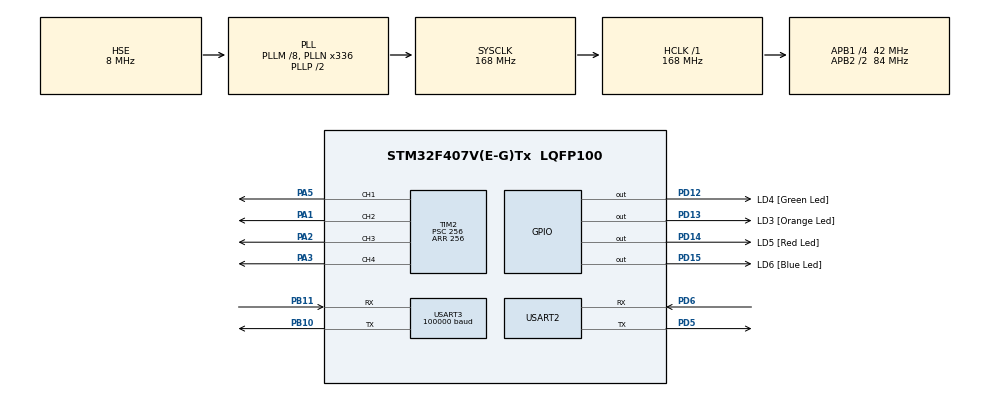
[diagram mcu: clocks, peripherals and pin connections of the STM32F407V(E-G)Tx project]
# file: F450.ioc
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Mcu.Family=STM32F4
Mcu.Name=STM32F407V(E-G)Tx
Mcu.Package=LQFP100
NVIC.PriorityGroup=NVIC_PRIORITYGROUP_0
NVIC.TIM6_DAC_IRQn=true\:0\:0\:false
NVIC.USART2_IRQn=true\:0\:0\:false
NVIC.USART3_IRQn=true\:0\:0\:false
PA1.Signal=S_TIM2_CH2
PA13.GPIO_Label=SWDIO
PA13.Mode=Trace-Asynchronous_SW
PA13.Signal=SYS_JTMS-SWDIO
PA14.GPIO_Label=SWCLK
PA14.Mode=Trace-Asynchronous_SW
PA14.Signal=SYS_JTCK-SWCLK
PA2.Signal=S_TIM2_CH3
PA3.Signal=S_TIM2_CH4
PA5.Signal=S_TIM2_CH1_ETR
PB10.Mode=Asynchronous
PB10.Signal=USART3_TX
PB11.Mode=Asynchronous
PB11.Signal=USART3_RX
PB3.GPIO_Label=SWO
PB3.Mode=Trace-Asynchronous_SW
PB3.Signal=SYS_JTDO-SWO
PD12.GPIO_Label=LD4 [Green Led]
PD12.GPIO_PuPd=GPIO_NOPULL
PD12.GPIO_Speed=GPIO_SPEED_LOW
PD12.Signal=GPIO_Output
PD13.GPIO_Label=LD3 [Orange Led]
PD13.GPIO_PuPd=GPIO_NOPULL
PD13.GPIO_Speed=GPIO_SPEED_LOW
PD13.Signal=GPIO_Output
PD14.GPIO_Label=LD5 [Red Led]
PD14.GPIO_PuPd=GPIO_NOPULL
PD14.GPIO_Speed=GPIO_SPEED_LOW
PD14.Signal=GPIO_Output
PD15.GPIO_Label=LD6 [Blue Led]
PD15.GPIO_PuPd=GPIO_NOPULL
PD15.GPIO_Speed=GPIO_SPEED_LOW
PD15.Signal=GPIO_Output
PD5.Mode=Asynchronous
PD5.Signal=USART2_TX
PD6.Mode=Asynchronous
PD6.Signal=USART2_RX
PH0-OSC_IN.GPIO_Label=PH0-OSC_IN
PH0-OSC_IN.Mode=HSE-External-Oscillator
PH0-OSC_IN.Signal=RCC_OSC_IN
PH1-OSC_OUT.GPIO_Label=PH1-OSC_OUT
PH1-OSC_OUT.Mode=HSE-External-Oscillator
PH1-OSC_OUT.Signal=RCC_OSC_OUT
ProjectManager.TargetToolchain=MDK-ARM V5
RCC.48MHZClocksFreq_Value=48000000
RCC.AHBFreq_Value=168000000
RCC.APB1CLKDivider=RCC_HCLK_DIV4
RCC.APB1Freq_Value=42000000
RCC.APB1TimFreq_Value=84000000
RCC.APB2CLKDivider=RCC_HCLK_DIV2
RCC.APB2Freq_Value=84000000
RCC.APB2TimFreq_Value=168000000
RCC.CortexFreq_Value=168000000
RCC.HCLKFreq_Value=168000000
RCC.HSE_VALUE=8000000
RCC.HSI_VALUE=16000000
RCC.LSE_VALUE=32768
RCC.PLLM=8
RCC.PLLN=336
RCC.PLLQ=7
RCC.PLLSourceVirtual=RCC_PLLSOURCE_HSE
RCC.SYSCLKFreq_VALUE=168000000
RCC.SYSCLKSource=RCC_SYSCLKSOURCE_PLLCLK
RCC.VCOOutputFreq_Value=336000000
SH.S_TIM2_CH1_ETR.0=TIM2_CH1,PWM Generation1 CH1
SH.S_TIM2_CH2.0=TIM2_CH2,PWM Generation2 CH2
SH.S_TIM2_CH3.0=TIM2_CH3,PWM Generation3 CH3
SH.S_TIM2_CH4.0=TIM2_CH4,PWM Generation4 CH4
TIM2.Channel-PWM\ Generation2\ CH2=TIM_CHANNEL_2
TIM2.Channel-PWM\ Generation3\ CH3=TIM_CHANNEL_3
TIM2.Channel-PWM\ Generation4\ CH4=TIM_CHANNEL_4
TIM2.ClockDivision=TIM_CLOCKDIVISION_DIV1
TIM2.OCMode_PWM-PWM\ Generation4\ CH4=TIM_OCMODE_PWM1
TIM2.Period=256
TIM2.Prescaler=256
TIM6.Period=256
TIM6.Prescaler=256
USART3.BaudRate=100000
VP_TIM2_VS_ClockSourceINT.Mode=Internal
VP_TIM6_VS_ClockSourceINT.Mode=Enable_Timer
board=STM32F4DISCOVERY

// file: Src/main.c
/**
  ******************************************************************************
  * File Name          : main.c
  * Description        : Main program body
  ******************************************************************************
  *
  * COPYRIGHT(c) 2015 STMicroelectronics
  *
  * Redistribution and use in source and binary forms, with or without modification,
  * are permitted provided that the following conditions are met:
  *   1. Redistributions of source code must retain the above copyright notice,
  *      this list of conditions and the following disclaimer.
  *   2. Redistributions in binary form must reproduce the above copyright notice,
  *      this list of conditions and the following disclaimer in the documentation
  *      and/or other materials provided with the distribution.
  *   3. Neither the name of STMicroelectronics nor the names of its contributors
  *      may be used to endorse or promote products derived from this software
  *      without specific prior written permission.
  *
  * THIS SOFTWARE IS PROVIDED BY THE COPYRIGHT HOLDERS AND CONTRIBUTORS "AS IS"
  * AND ANY EXPRESS OR IMPLIED WARRANTIES, INCLUDING, BUT NOT LIMITED TO, THE
  * IMPLIED WARRANTIES OF MERCHANTABILITY AND FITNESS FOR A PARTICULAR PURPOSE ARE
  * DISCLAIMED. IN NO EVENT SHALL THE COPYRIGHT HOLDER OR CONTRIBUTORS BE LIABLE
  * FOR ANY DIRECT, INDIRECT, INCIDENTAL, SPECIAL, EXEMPLARY, OR CONSEQUENTIAL
  * DAMAGES (INCLUDING, BUT NOT LIMITED TO, PROCUREMENT OF SUBSTITUTE GOODS OR
  * SERVICES; LOSS OF USE, DATA, OR PROFITS; OR BUSINESS INTERRUPTION) HOWEVER
  * CAUSED AND ON ANY THEORY OF LIABILITY, WHETHER IN CONTRACT, STRICT LIABILITY,
  * OR TORT (INCLUDING NEGLIGENCE OR OTHERWISE) ARISING IN ANY WAY OUT OF THE USE
  * OF THIS SOFTWARE, EVEN IF ADVISED OF THE POSSIBILITY OF SUCH DAMAGE.
  *
  ******************************************************************************
  */
#include "stm32f4xx_hal.h"

/* USER CODE BEGIN Includes */
#include "./global.h"
/* USER CODE END Includes */

TIM_HandleTypeDef htim2;
TIM_HandleTypeDef htim6;

UART_HandleTypeDef huart2;
UART_HandleTypeDef huart3;

/* USER CODE BEGIN PV */
/* Private variables ---------------------------------------------------------*/

/* USER CODE END PV */

void SystemClock_Config(void);
static void MX_GPIO_Init(void);
static void MX_TIM2_Init(void);
static void MX_TIM6_Init(void);
static void MX_USART2_UART_Init(void);
static void MX_USART3_UART_Init(void);

/* USER CODE BEGIN PFP */
/* Private function prototypes -----------------------------------------------*/

/* USER CODE END PFP */

int main(void)
{

  /* MCU Configuration----------------------------------------------------------*/

  /* Reset of all peripherals, Initializes the Flash interface and the Systick. */
  HAL_Init();

  /* Configure the system clock */
  SystemClock_Config();

  /* Initialize all configured peripherals */
  MX_GPIO_Init();
  MX_TIM2_Init();
  MX_TIM6_Init();

	HAL_TIM_Base_Start_IT(&htim6);
  MX_USART2_UART_Init();
	HAL_UART_Receive_IT(&huart2,USART2RxBuffer,sizeof(AHRSData)+2);
  MX_USART3_UART_Init();
	HAL_UART_Receive_IT(&huart3,USART3RxBuffer,25);
  /* USER CODE BEGIN 2 */

//	uint8_t aaa[]={0,1,2,3,4,5,6,7,8,9,10,11,12,13,14,15};
//	HAL_UART_Transmit_IT(&huart3,aaa, 16);

//	for(__IO int i=0;i<10000;i++);

	HAL_TIM_PWM_Start(&htim2,TIM_CHANNEL_1);
	HAL_TIM_PWM_Start(&htim2,TIM_CHANNEL_2);
	HAL_TIM_PWM_Start(&htim2,TIM_CHANNEL_3);
	HAL_TIM_PWM_Start(&htim2,TIM_CHANNEL_4);

  /* USER CODE END 2 */

  /* Infinite loop */
  while (1)
  {

  /* USER CODE BEGIN 3 */
		__IO int s=sizeof(AHRSData);

		if(AHRSReceived)
		{
			uint8_t cs=0;
			for(int8_t i=1;i<=sizeof(AHRSData)+1;i++)
				cs^=USART2RxBuffer[i];
			if(USART2RxBuffer[0]==0xaa && cs==0)
			{
				AHRSData = *((struct AHRSDataStruct *)(USART2RxBuffer+1));
				HAL_UART_Receive_IT(&huart2,USART2RxBuffer,sizeof(AHRSData)+2);
				HAL_GPIO_WritePin(GPIOD, LD5_Pin,(GPIO_PinState)!HAL_GPIO_ReadPin(GPIOD, LD5_Pin));
			}
			else
			{
				__IO int32_t receiveTime = sysClock;

				uint8_t a='a';
				HAL_UART_Transmit_IT(&huart3,&a, 1);

				while( (sysClock - receiveTime < 10) && (sysClock >= receiveTime) );//等1ms，重新收
				//todo 有问题 偶尔迷之傻逼 红灯常亮或者不亮就是傻逼了
//				MX_USART2_UART_Init();
				HAL_UART_Receive_IT(&huart2,USART2RxBuffer,sizeof(AHRSData)+2);
			}

			uint8_t b='b';
			HAL_UART_Transmit_IT(&huart3,&b, 1);

			AHRSReceived = 0;

		}

		if(rcReceived)
		{
			if(USART3RxBuffer[0]==0x0f)
			{
				//todo
					uint8_t *p_origin=USART3RxBuffer;
					uint16_t *p_result=rcChannels;
					int16_t countOrigin=0,countResult=0,i;
					uint8_t filter=0x01;

					(*p_result)=0;	//p_result置零
					p_result--;		//p_result从int[0]开始，p_origin从char[1]开始
					for(i=0; i<176; i++)
					{
						countOrigin--;countResult--;
						if(countOrigin<0)
						{
							countOrigin=7;	//Origin每8位指针移动
							p_origin++;
						}
						if(countResult<0)
						{
							countResult=10;					//Result每11位指针移动
							(*p_result)=(*p_result)<<1;		//撤销最后一次移位
							p_result++;
							(*p_result)=0;
						}
						(*p_result)|=(((*p_origin)&(filter))<<10);
						(*p_result)=(*p_result)>>1;
						(*p_origin)=(*p_origin)>>1;
					}

					p_origin++;
//					wireLessLost=(*p_origin)&0x04;
//					digitalChannel2=(*p_origin)&0x02;//两个数字通道好像有一个有问题
//					digitalChannel1=(*p_origin)&0x01;

				;
			}
			else
			{
				int32_t receiveTime = sysClock;
				while(sysClock - receiveTime < 40 && sysClock >= receiveTime);//等1ms，重新收
			}
			rcReceived = 0;
			HAL_UART_Receive_IT(&huart3,USART3RxBuffer,25);
		}

		if(sysClock-lastUpdateControlTime >= 25)
		{

			pitchAngleSP = (rcChannels[1]-1024)/1000.0*500;
			rollAngleSP = (rcChannels[0]-1024)/1000.0*500;

			yawAngleSP += (rcChannels[3]-1024)/1000.0*0.3;
			if(yawAngleSP > 3600)
				yawAngleSP -=3600;
			if(yawAngleSP < 0)
				yawAngleSP +=3600;

			throttle = 0.900 + rcChannels[2]/2000.0;

			pitchAngleErr = AHRSData.pitch - pitchAngleSP;
			pitchAngleAdjust = -(pitchAngleP * pitchAngleErr + pitchAngleD * AHRSData.gyroY);
			rollAngleErr = AHRSData.roll - rollAngleSP;
			rollAngleAdjust = -(rollAngleP * rollAngleErr + rollAngleD * AHRSData.gyroX);

			yawAngleErr = AHRSData.yaw - yawAngleSP;
			if(yawAngleErr>1800)
				yawAngleErr-=3600;
			if(yawAngleErr<-1800)
				yawAngleErr+=3600;

			yawAngleAdjust = -(yawAngleP * yawAngleErr + yawAngleD * (-AHRSData.gyroZ));

			constrain(pitchAngleAdjust,-0.4f,0.4f);
			constrain(rollAngleAdjust,-0.4f,0.4f);
			constrain(yawAngleAdjust,-0.4f,0.4f);

			pwm1 = throttle - pitchAngleAdjust - rollAngleAdjust + yawAngleAdjust;
			pwm2 = throttle + pitchAngleAdjust + rollAngleAdjust + yawAngleAdjust;
			pwm3 = throttle - pitchAngleAdjust + rollAngleAdjust - yawAngleAdjust;
			pwm4 = throttle + pitchAngleAdjust - rollAngleAdjust - yawAngleAdjust;

			if(throttle<1.1f)
			{
				pwm1=0.9;pwm2=0.9;pwm3=0.9;pwm4=0.9;yawAngleSP=AHRSData.yaw;
			}

			constrain(pwm1,0.9f,2.1f);
			constrain(pwm2,0.9f,2.1f);
			constrain(pwm3,0.9f,2.1f);
			constrain(pwm4,0.9f,2.1f);

			TIM_OC_InitTypeDef sConfigOC;
			sConfigOC.OCMode = TIM_OCMODE_PWM1;
			sConfigOC.Pulse = 0;
			sConfigOC.OCPolarity = TIM_OCPOLARITY_HIGH;
			sConfigOC.OCFastMode = TIM_OCFAST_DISABLE;

			sConfigOC.Pulse = pwm1*84003;
			HAL_TIM_PWM_ConfigChannel(&htim2, &sConfigOC, TIM_CHANNEL_1);
			HAL_TIM_PWM_Start(&htim2,TIM_CHANNEL_1);
			sConfigOC.Pulse = pwm2*84003;
			HAL_TIM_PWM_ConfigChannel(&htim2, &sConfigOC, TIM_CHANNEL_2);
			HAL_TIM_PWM_Start(&htim2,TIM_CHANNEL_2);
			sConfigOC.Pulse = pwm3*84003;
			HAL_TIM_PWM_ConfigChannel(&htim2, &sConfigOC, TIM_CHANNEL_3);
			HAL_TIM_PWM_Start(&htim2,TIM_CHANNEL_3);
			sConfigOC.Pulse = pwm4*84003;
			HAL_TIM_PWM_ConfigChannel(&htim2, &sConfigOC, TIM_CHANNEL_4);
			HAL_TIM_PWM_Start(&htim2,TIM_CHANNEL_4);

			lastUpdateControlTime = sysClock;

		}
  }
  /* USER CODE END 3 */

}

/** System Clock Configuration
*/
void SystemClock_Config(void)
{

  RCC_OscInitTypeDef RCC_OscInitStruct;
  RCC_ClkInitTypeDef RCC_ClkInitStruct;

  __PWR_CLK_ENABLE();

  __HAL_PWR_VOLTAGESCALING_CONFIG(PWR_REGULATOR_VOLTAGE_SCALE1);

  RCC_OscInitStruct.OscillatorType = RCC_OSCILLATORTYPE_HSE;
  RCC_OscInitStruct.HSEState = RCC_HSE_ON;
  RCC_OscInitStruct.PLL.PLLState = RCC_PLL_ON;
  RCC_OscInitStruct.PLL.PLLSource = RCC_PLLSOURCE_HSE;
  RCC_OscInitStruct.PLL.PLLM = 8;
  RCC_OscInitStruct.PLL.PLLN = 336;
  RCC_OscInitStruct.PLL.PLLP = RCC_PLLP_DIV2;
  RCC_OscInitStruct.PLL.PLLQ = 7;
  HAL_RCC_OscConfig(&RCC_OscInitStruct);

  RCC_ClkInitStruct.ClockType = RCC_CLOCKTYPE_SYSCLK|RCC_CLOCKTYPE_PCLK1
                              |RCC_CLOCKTYPE_PCLK2;
  RCC_ClkInitStruct.SYSCLKSource = RCC_SYSCLKSOURCE_PLLCLK;
  RCC_ClkInitStruct.AHBCLKDivider = RCC_SYSCLK_DIV1;
  RCC_ClkInitStruct.APB1CLKDivider = RCC_HCLK_DIV4;
  RCC_ClkInitStruct.APB2CLKDivider = RCC_HCLK_DIV2;
  HAL_RCC_ClockConfig(&RCC_ClkInitStruct, FLASH_LATENCY_5);

  HAL_SYSTICK_Config(HAL_RCC_GetHCLKFreq()/1000);

  HAL_SYSTICK_CLKSourceConfig(SYSTICK_CLKSOURCE_HCLK);

  /* SysTick_IRQn interrupt configuration */
  HAL_NVIC_SetPriority(SysTick_IRQn, 0, 0);
}

/* TIM2 init function */
void MX_TIM2_Init(void)
{

  TIM_ClockConfigTypeDef sClockSourceConfig;
  TIM_MasterConfigTypeDef sMasterConfig;
  TIM_OC_InitTypeDef sConfigOC;

  htim2.Instance = TIM2;
  htim2.Init.Prescaler = 0;
  htim2.Init.CounterMode = TIM_COUNTERMODE_UP;
  htim2.Init.Period = 210000;
  htim2.Init.ClockDivision = TIM_CLOCKDIVISION_DIV1;
  HAL_TIM_Base_Init(&htim2);

  sClockSourceConfig.ClockSource = TIM_CLOCKSOURCE_INTERNAL;
  HAL_TIM_ConfigClockSource(&htim2, &sClockSourceConfig);

  HAL_TIM_PWM_Init(&htim2);

  sMasterConfig.MasterOutputTrigger = TIM_TRGO_RESET;
  sMasterConfig.MasterSlaveMode = TIM_MASTERSLAVEMODE_DISABLE;
  HAL_TIMEx_MasterConfigSynchronization(&htim2, &sMasterConfig);

  sConfigOC.OCMode = TIM_OCMODE_PWM1;
  sConfigOC.Pulse = 70000;
  sConfigOC.OCPolarity = TIM_OCPOLARITY_HIGH;
  sConfigOC.OCFastMode = TIM_OCFAST_DISABLE;
  HAL_TIM_PWM_ConfigChannel(&htim2, &sConfigOC, TIM_CHANNEL_1);

  HAL_TIM_PWM_ConfigChannel(&htim2, &sConfigOC, TIM_CHANNEL_2);

  HAL_TIM_PWM_ConfigChannel(&htim2, &sConfigOC, TIM_CHANNEL_3);

  HAL_TIM_PWM_ConfigChannel(&htim2, &sConfigOC, TIM_CHANNEL_4);

}

/* TIM6 init function */
void MX_TIM6_Init(void)
{

  TIM_MasterConfigTypeDef sMasterConfig;

  htim6.Instance = TIM6;
  htim6.Init.Prescaler = 0;
  htim6.Init.CounterMode = TIM_COUNTERMODE_UP;
  htim6.Init.Period = 8400;
  HAL_TIM_Base_Init(&htim6);

  sMasterConfig.MasterOutputTrigger = TIM_TRGO_RESET;
  sMasterConfig.MasterSlaveMode = TIM_MASTERSLAVEMODE_DISABLE;
  HAL_TIMEx_MasterConfigSynchronization(&htim6, &sMasterConfig);

}

/* USART2 init function */
void MX_USART2_UART_Init(void)
{

  huart2.Instance = USART2;
  huart2.Init.BaudRate = 256000;
  huart2.Init.WordLength = UART_WORDLENGTH_8B;
  huart2.Init.StopBits = UART_STOPBITS_1;
  huart2.Init.Parity = UART_PARITY_NONE;
  huart2.Init.Mode = UART_MODE_TX_RX;
  huart2.Init.HwFlowCtl = UART_HWCONTROL_NONE;
  huart2.Init.OverSampling = UART_OVERSAMPLING_16;
  HAL_UART_Init(&huart2);

}

/* USART3 init function */
void MX_USART3_UART_Init(void)
{

  huart3.Instance = USART3;
  huart3.Init.BaudRate = 100000;
  huart3.Init.WordLength = UART_WORDLENGTH_9B;
  huart3.Init.StopBits = UART_STOPBITS_2;
  huart3.Init.Parity = UART_PARITY_EVEN;
  huart3.Init.Mode = UART_MODE_TX_RX;
  huart3.Init.HwFlowCtl = UART_HWCONTROL_NONE;
  huart3.Init.OverSampling = UART_OVERSAMPLING_8;
  HAL_UART_Init(&huart3);

}

/** Configure pins as
        * Analog
        * Input
        * Output
        * EVENT_OUT
        * EXTI
*/
void MX_GPIO_Init(void)
{

  GPIO_InitTypeDef GPIO_InitStruct;

  /* GPIO Ports Clock Enable */
  __GPIOH_CLK_ENABLE();
  __GPIOA_CLK_ENABLE();
  __GPIOB_CLK_ENABLE();
  __GPIOD_CLK_ENABLE();

  /*Configure GPIO pins : LD4_Pin LD3_Pin LD5_Pin LD6_Pin */
  GPIO_InitStruct.Pin = LD4_Pin|LD3_Pin|LD5_Pin|LD6_Pin;
  GPIO_InitStruct.Mode = GPIO_MODE_OUTPUT_PP;
  GPIO_InitStruct.Pull = GPIO_NOPULL;
  GPIO_InitStruct.Speed = GPIO_SPEED_LOW;
  HAL_GPIO_Init(GPIOD, &GPIO_InitStruct);

}

/* USER CODE BEGIN 4 */
void HAL_UART_RxCpltCallback(UART_HandleTypeDef *huart)
{
	if(huart->Instance == USART2)
	{
		AHRSReceived = 1;
	}

	if(huart->Instance == USART3)
	{
		rcReceived = 1;
	}
}

void HAL_UART_ErrorCallback(UART_HandleTypeDef *huart)
{
	if(huart->Instance == USART2)
	{
		AHRSReceived = 0;
		MX_USART2_UART_Init();
		HAL_UART_Receive_IT(&huart2,USART2RxBuffer,sizeof(AHRSData)+2);
	}

	if(huart->Instance == USART3)
	{
		rcReceived = 0;
		MX_USART3_UART_Init();
		HAL_UART_Receive_IT(&huart3,USART3RxBuffer,25);
	}
}

void HAL_TIM_PeriodElapsedCallback(TIM_HandleTypeDef *htim)
{
  if(htim->Instance==TIM6)
	{
		sysClock = (sysClock+1)%1000000000;
		HAL_GPIO_WritePin(GPIOD, LD6_Pin,(GPIO_PinState)!HAL_GPIO_ReadPin(GPIOD, LD6_Pin));
	}
}
/* USER CODE END 4 */

/************************ (C) COPYRIGHT STMicroelectronics *****END OF FILE****/
